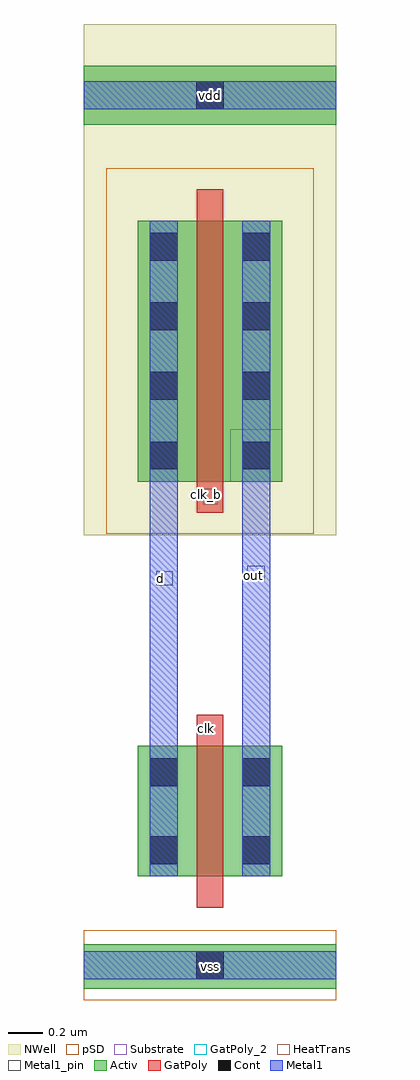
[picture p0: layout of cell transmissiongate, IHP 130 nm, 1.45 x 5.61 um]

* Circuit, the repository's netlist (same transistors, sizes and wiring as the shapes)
* Extracted by KLayout with SG13G2 LVS runset on : 21/03/2026 23:51

.SUBCKT transmissiongate
M$1 \$3 \$5 \$4 \$1 sg13_lv_nmos L=0.15u W=0.75u AS=0.255p AD=0.255p PS=2.18u
+ PD=2.18u
M$2 \$3 \$6 \$4 \$2 sg13_lv_pmos L=0.15u W=1.5u AS=0.51p AD=0.51p PS=3.68u
+ PD=3.68u
.ENDS transmissiongate

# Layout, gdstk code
from math import pi, radians
import gdstk
lib = gdstk.Library(unit=1e-6, precision=5e-09)
def R(c, l, rs):  # rectangles x0, y0, x1, y1
    for r in rs: c.add(gdstk.rectangle(r[:2], r[2:], *l))
def A(c, l, x, y, w, h, nx, ny, dx, dy):  # array of equal rectangles
    R(c, l, [(x+i*dx, y+j*dy, x+i*dx+w, y+j*dy+h) for i in range(nx) for j in range(ny)])
Activ = (1, 0)
GatPoly = (5, 0)
GatPoly_2 = (5, 2)
Cont = (6, 0)
Metal1 = (8, 0)
Metal1_pin = (8, 2)
pSD = (14, 0)
NWell = (31, 0)
Substrate = (40, 0)
HeatTrans = (51, 0)

pmos_1 = lib.new_cell('pmos$1')
R(pmos_1, Activ, [(0,0,0.3,0.3), (0,0,0.83,1.5), (0.53,0,0.83,0.3)])
R(pmos_1, GatPoly, [(0.34,-0.18,0.49,1.68), (0.34,-0.18,0.49,1.68)])
A(pmos_1, Cont, 0.07, 0.07, 0.16, 0.16, 1, 4, 0, 0.4)
A(pmos_1, Cont, 0.6, 0.07, 0.16, 0.16, 1, 4, 0, 0.4)
R(pmos_1, Metal1, [(0.07,0,0.23,1.5), (0.07,0,0.23,1.5), (0.6,0,0.76,1.5), (0.6,0,0.76,1.5)])
R(pmos_1, pSD, [(-0.18,-0.3,1.01,1.8)])
R(pmos_1, NWell, [(-0.31,-0.31,1.14,1.81)])
R(pmos_1, Substrate, [(0.53,0,0.83,0.3)])
R(pmos_1, HeatTrans, [(0.34,-0.18,0.49,1.68)])
pmos_1.add(gdstk.Label('pmos', (0.415,0.75), layer=63, texttype=0))
pmos_1.add(gdstk.Label('pmos', (0.415,0.75), layer=51, texttype=0))

nmos_1 = lib.new_cell('nmos$1')
R(nmos_1, Activ, [(0,0,0.3,0.3), (0,0,0.83,0.75), (0.53,0,0.83,0.3)])
R(nmos_1, GatPoly, [(0.34,-0.18,0.49,0.93)])
R(nmos_1, GatPoly_2, [(0.34,-0.18,0.49,0.93)])
R(nmos_1, Cont, [(0.07,0.07,0.23,0.23), (0.6,0.07,0.76,0.23), (0.07,0.52,0.23,0.68), (0.6,0.52,0.76,0.68)])
R(nmos_1, Metal1, [(0.07,0,0.23,0.75), (0.6,0,0.76,0.75)])
R(nmos_1, Metal1_pin, [(0.07,0,0.23,0.75), (0.6,0,0.76,0.75)])
R(nmos_1, HeatTrans, [(0.34,-0.18,0.49,0.93)])
nmos_1.add(gdstk.Label('nmos', (0.415,0.375), layer=63, texttype=0))
nmos_1.add(gdstk.Label('nmos', (0.415,0.375), layer=51, texttype=0))

transmissiongate = lib.new_cell('transmissiongate')
R(transmissiongate, Activ, [(-0.85,-2.74,0.6,-2.485), (-0.85,2.225,0.6,2.565)])
R(transmissiongate, GatPoly_2, [(-0.165,-1.29,-0.08,-1.205), (-0.165,0.045,-0.08,0.135)])
R(transmissiongate, Cont, [(-0.205,-2.685,-0.045,-2.525), (-0.205,2.315,-0.045,2.475)])
R(transmissiongate, Metal1, [(-0.85,-2.685,0.6,-2.525), (-0.47,-1.645,-0.31,0.4), (0.06,-1.645,0.22,0.41), (-0.85,2.315,0.6,2.475)])
R(transmissiongate, Metal1_pin, [(-0.85,-2.685,0.6,-2.525), (-0.435,-0.42,-0.34,-0.34), (0.09,-0.395,0.19,-0.31), (-0.85,2.315,0.6,2.475)])
R(transmissiongate, pSD, [(-0.85,-2.805,0.6,-2.405)])
R(transmissiongate, NWell, [(-0.85,1.985,0.6,2.805)])
transmissiongate.add(gdstk.Reference(pmos_1, (-0.54,0.175)))
transmissiongate.add(gdstk.Reference(nmos_1, (0.29,-1.345), rotation=pi))
transmissiongate.add(gdstk.Label('vdd', (-0.125,2.395), layer=6, texttype=0))
transmissiongate.add(gdstk.Label('out', (0.125,-0.365), layer=8, texttype=2))
transmissiongate.add(gdstk.Label('d', (-0.41,-0.38), layer=8, texttype=2))
transmissiongate.add(gdstk.Label('vss', (-0.125,-2.615), layer=8, texttype=2))
transmissiongate.add(gdstk.Label('clk_b', (-0.145,0.1), layer=5, texttype=2))
transmissiongate.add(gdstk.Label('clk', (-0.145,-1.245), layer=5, texttype=2))

lib.write_gds('transmissiongate.gds')
